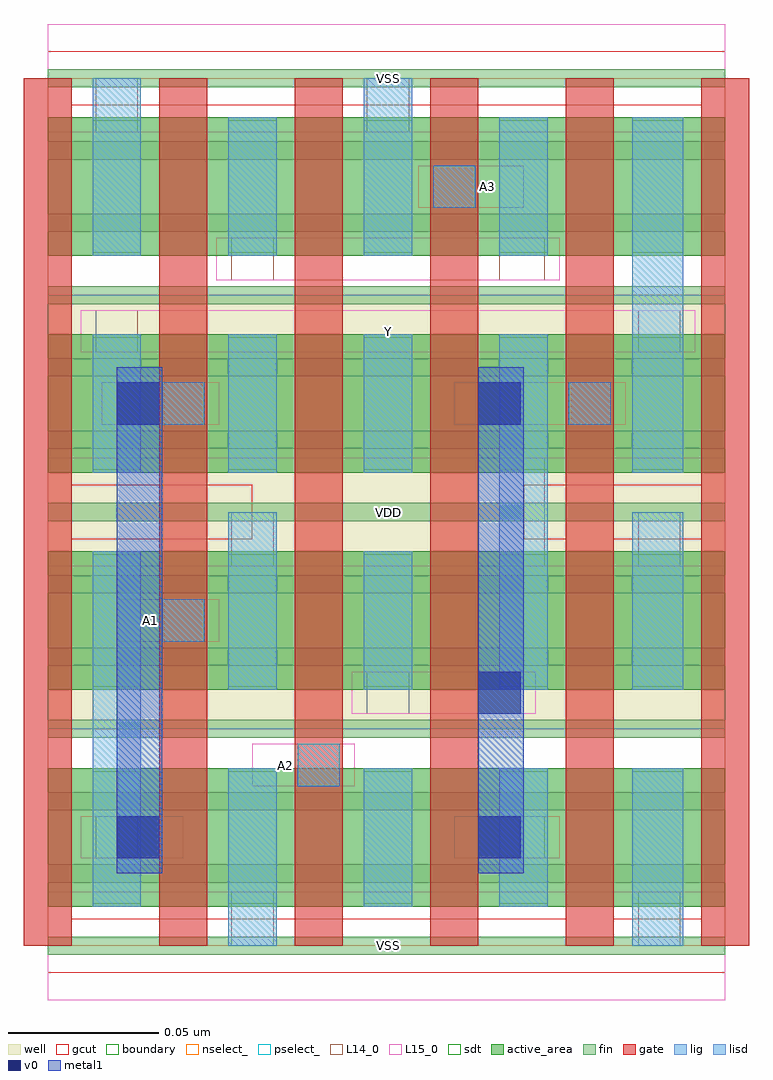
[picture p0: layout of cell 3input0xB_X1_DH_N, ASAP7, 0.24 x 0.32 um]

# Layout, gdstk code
import gdstk
lib = gdstk.Library(unit=1e-6, precision=1e-09)
def R(c, l, rs):  # rectangles x0, y0, x1, y1
    for r in rs: c.add(gdstk.rectangle(r[:2], r[2:], *l))
def A(c, l, x, y, w, h, nx, ny, dx, dy):  # array of equal rectangles
    R(c, l, [(x+i*dx, y+j*dy, x+i*dx+w, y+j*dy+h) for i in range(nx) for j in range(ny)])
def P(c, l, *ps):  # polygons
    for p in ps: c.add(gdstk.Polygon(p, *l))
well = (1, 0)
fin = (2, 0)
gate = (7, 0)
gcut = (10, 0)
active_area = (11, 0)
nselect_ = (12, 0)
pselect_ = (13, 0)
L14_0 = (14, 0)
L15_0 = (15, 0)
lig = (16, 0)
lisd = (17, 0)
v0 = (18, 0)
metal1 = (19, 0)
sdt = (88, 0)
boundary = (100, 0)

c_3input0xb_x1_dh_n = lib.new_cell('3input0xB_X1_DH_N')
R(c_3input0xb_x1_dh_n, well, [(0,0.072,0.225,0.144), (0,0.144,0.225,0.216)])
A(c_3input0xb_x1_dh_n, fin, 0, -0.003, 0.225, 0.006, 1, 13, 0, 0.024)
A(c_3input0xb_x1_dh_n, gate, -0.008, 0, 0.016, 0.288, 6, 1, 0.045, 0)
P(c_3input0xb_x1_dh_n, gcut, [(0,-0.009),(0,0),(-0.008,0),(-0.008,0.279),(0.008,0.279),(0.008,0.153),(0.068,0.153),(0.068,0.135),(0.008,0.135),(0.008,0.009),(0.172,0.009),(0.172,0.135),(0.188,0.135),(0.188,0.009),(0.217,0.009),(0.217,0.135),(0.158,0.135),(0.158,0.153),(0.217,0.153),(0.217,0.279),(-0.008,0.279),(-0.008,0.288),(0,0.288),(0,0.297),(0.225,0.297),(0.225,0.288),(0.233,0.288),(0.233,0),(0.225,0),(0.225,-0.009)])
A(c_3input0xb_x1_dh_n, active_area, 0, 0.013, 0.225, 0.046, 1, 4, 0, 0.072)
R(c_3input0xb_x1_dh_n, nselect_, [(0,0,0.225,0.072), (0,0.216,0.225,0.288)])
R(c_3input0xb_x1_dh_n, pselect_, [(0,0.072,0.225,0.144), (0,0.144,0.225,0.216)])
R(c_3input0xb_x1_dh_n, L14_0, [(0.061,0,0.075,0.018), (0.196,0,0.21,0.018), (0.016,0.029,0.03,0.043), (0.15,0.029,0.165,0.043), (0.083,0.053,0.097,0.067), (0.106,0.077,0.12,0.091), (0.038,0.101,0.052,0.115), (0.061,0.126,0.075,0.144), (0.15,0.126,0.165,0.144), (0.196,0.126,0.21,0.144), (0.15,0.144,0.165,0.162), (0.038,0.173,0.052,0.187), (0.173,0.173,0.187,0.187), (0.016,0.197,0.03,0.211), (0.196,0.197,0.21,0.211), (0.061,0.221,0.075,0.235), (0.15,0.221,0.165,0.235), (0.128,0.245,0.142,0.259), (0.016,0.27,0.03,0.288), (0.106,0.27,0.12,0.288)])
A(c_3input0xb_x1_dh_n, L15_0, 0, -0.018, 0.225, 0.036, 1, 3, 0, 0.144)
R(c_3input0xb_x1_dh_n, L15_0, [(0.011,0.029,0.045,0.043), (0.135,0.029,0.17,0.043), (0.068,0.053,0.102,0.067), (0.101,0.077,0.162,0.091), (0.023,0.101,0.057,0.115), (0.018,0.173,0.057,0.187), (0.135,0.173,0.192,0.187), (0.011,0.197,0.215,0.211), (0.056,0.221,0.17,0.235), (0.123,0.245,0.158,0.259)])
R(c_3input0xb_x1_dh_n, lig, [(0.083,0.053,0.097,0.067), (0.038,0.101,0.052,0.115), (0.038,0.173,0.052,0.187), (0.173,0.173,0.187,0.187), (0.128,0.245,0.142,0.259)])
A(c_3input0xb_x1_dh_n, lisd, 0.015, 0.157, 0.016, 0.046, 3, 1, 0.045, 0)
R(c_3input0xb_x1_dh_n, lisd, [(0.06,0,0.076,0.059), (0.194,0,0.211,0.059), (0.015,0.013,0.031,0.131), (0.105,0.013,0.121,0.059), (0.15,0.013,0.166,0.059), (0.06,0.085,0.076,0.144), (0.105,0.085,0.121,0.131), (0.15,0.085,0.166,0.203), (0.194,0.085,0.211,0.144), (0.194,0.157,0.211,0.275), (0.015,0.229,0.031,0.288), (0.06,0.229,0.076,0.275), (0.105,0.229,0.121,0.288), (0.15,0.229,0.166,0.275)])
R(c_3input0xb_x1_dh_n, v0, [(0.023,0.029,0.037,0.043), (0.143,0.029,0.157,0.043), (0.143,0.077,0.157,0.091), (0.023,0.173,0.037,0.187), (0.143,0.173,0.157,0.187)])
R(c_3input0xb_x1_dh_n, metal1, [(0.023,0.024,0.038,0.192), (0.143,0.024,0.158,0.192)])
A(c_3input0xb_x1_dh_n, sdt, 0.015, 0.014, 0.016, 0.044, 4, 4, 0.045, 0.072)
A(c_3input0xb_x1_dh_n, sdt, 0.194, 0.014, 0.017, 0.044, 1, 4, 0, 0.072)
R(c_3input0xb_x1_dh_n, boundary, [(0,0,0.225,0.288)])
c_3input0xb_x1_dh_n.add(gdstk.Label('A3', (0.146,0.252), layer=15, texttype=251))
c_3input0xb_x1_dh_n.add(gdstk.Label('VSS', (0.113,0), layer=15, texttype=251))
c_3input0xb_x1_dh_n.add(gdstk.Label('VDD', (0.113,0.144), layer=15, texttype=251))
c_3input0xb_x1_dh_n.add(gdstk.Label('VDD', (0.113,0.144), layer=15, texttype=251))
c_3input0xb_x1_dh_n.add(gdstk.Label('VSS', (0.113,0.288), layer=15, texttype=251))
c_3input0xb_x1_dh_n.add(gdstk.Label('A1', (0.034,0.108), layer=15, texttype=251))
c_3input0xb_x1_dh_n.add(gdstk.Label('VSS', (0.113,0), layer=15, texttype=251))
c_3input0xb_x1_dh_n.add(gdstk.Label('VDD', (0.113,0.144), layer=15, texttype=251))
c_3input0xb_x1_dh_n.add(gdstk.Label('VDD', (0.113,0.144), layer=15, texttype=251))
c_3input0xb_x1_dh_n.add(gdstk.Label('VSS', (0.113,0.288), layer=15, texttype=251))
c_3input0xb_x1_dh_n.add(gdstk.Label('A2', (0.079,0.06), layer=15, texttype=251))
c_3input0xb_x1_dh_n.add(gdstk.Label('VSS', (0.113,0), layer=15, texttype=251))
c_3input0xb_x1_dh_n.add(gdstk.Label('VDD', (0.113,0.144), layer=15, texttype=251))
c_3input0xb_x1_dh_n.add(gdstk.Label('VDD', (0.113,0.144), layer=15, texttype=251))
c_3input0xb_x1_dh_n.add(gdstk.Label('VSS', (0.113,0.288), layer=15, texttype=251))
c_3input0xb_x1_dh_n.add(gdstk.Label('Y', (0.113,0.204), layer=15, texttype=251))
c_3input0xb_x1_dh_n.add(gdstk.Label('VSS', (0.113,0), layer=15, texttype=251))
c_3input0xb_x1_dh_n.add(gdstk.Label('VDD', (0.113,0.144), layer=15, texttype=251))
c_3input0xb_x1_dh_n.add(gdstk.Label('VDD', (0.113,0.144), layer=15, texttype=251))
c_3input0xb_x1_dh_n.add(gdstk.Label('VSS', (0.113,0.288), layer=15, texttype=251))
c_3input0xb_x1_dh_n.add(gdstk.Label('VSS', (0.113,0), layer=3, texttype=251))
c_3input0xb_x1_dh_n.add(gdstk.Label('VSS', (0.113,0.288), layer=3, texttype=251))
c_3input0xb_x1_dh_n.add(gdstk.Label('VSS', (0.113,0), layer=3, texttype=251))
c_3input0xb_x1_dh_n.add(gdstk.Label('VSS', (0.113,0.288), layer=3, texttype=251))
c_3input0xb_x1_dh_n.add(gdstk.Label('VSS', (0.113,0), layer=3, texttype=251))
c_3input0xb_x1_dh_n.add(gdstk.Label('VSS', (0.113,0.288), layer=3, texttype=251))
c_3input0xb_x1_dh_n.add(gdstk.Label('VSS', (0.113,0), layer=3, texttype=251))
c_3input0xb_x1_dh_n.add(gdstk.Label('VSS', (0.113,0.288), layer=3, texttype=251))
c_3input0xb_x1_dh_n.add(gdstk.Label('VDD', (0.113,0.144), layer=1, texttype=251))
c_3input0xb_x1_dh_n.add(gdstk.Label('VDD', (0.113,0.144), layer=1, texttype=251))
c_3input0xb_x1_dh_n.add(gdstk.Label('VDD', (0.113,0.144), layer=1, texttype=251))
c_3input0xb_x1_dh_n.add(gdstk.Label('VDD', (0.113,0.144), layer=1, texttype=251))
c_3input0xb_x1_dh_n.add(gdstk.Label('VDD', (0.113,0.144), layer=1, texttype=251))
c_3input0xb_x1_dh_n.add(gdstk.Label('VDD', (0.113,0.144), layer=1, texttype=251))
c_3input0xb_x1_dh_n.add(gdstk.Label('VDD', (0.113,0.144), layer=1, texttype=251))
c_3input0xb_x1_dh_n.add(gdstk.Label('VDD', (0.113,0.144), layer=1, texttype=251))

lib.write_gds('3input0xB_X1_DH_N.gds')
